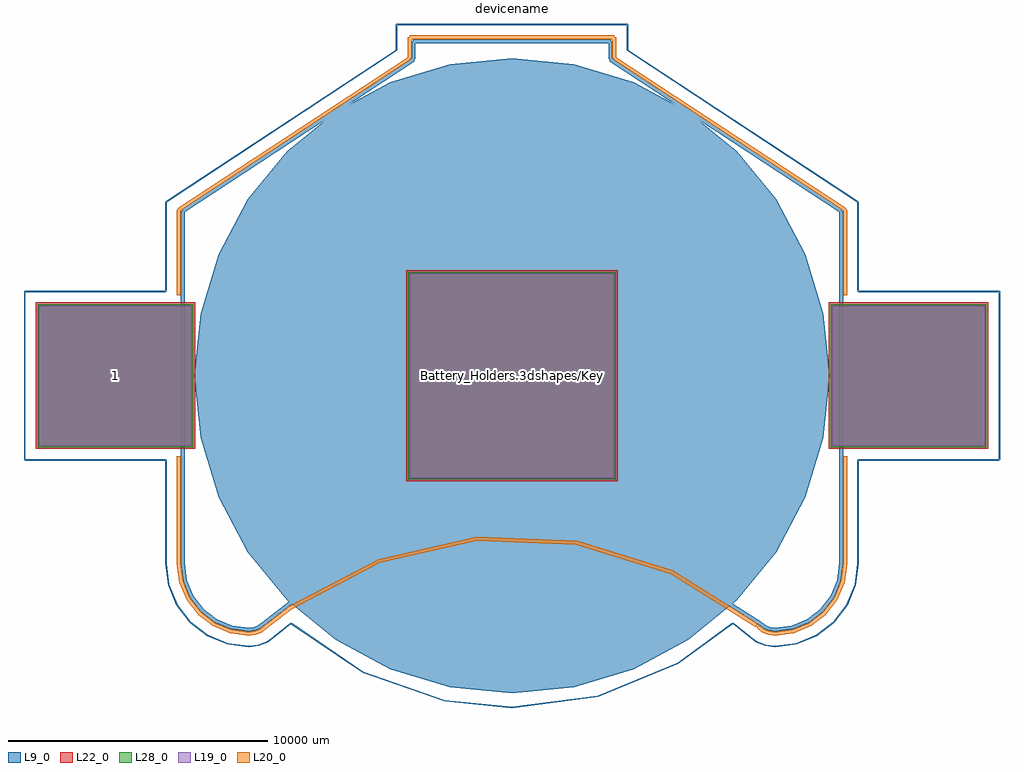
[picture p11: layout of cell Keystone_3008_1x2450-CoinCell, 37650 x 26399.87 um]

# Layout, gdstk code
import gdstk
lib = gdstk.Library(unit=1e-6, precision=1e-09)
def R(c, l, rs):  # rectangles x0, y0, x1, y1
    for r in rs: c.add(gdstk.rectangle(r[:2], r[2:], *l))
def P(c, l, *ps):  # polygons
    for p in ps: c.add(gdstk.Polygon(p, *l))
L9_0 = (9, 0)
L19_0 = (19, 0)
L20_0 = (20, 0)
L22_0 = (22, 0)
L28_0 = (28, 0)

keystone_3008_1x2450_coi = lib.new_cell('Keystone_3008_1x2450-CoinCell')
P(keystone_3008_1x2450_coi, L9_0, [(12250,0),(12014.62,2389.856),(11317.524,4687.872),(10185.503,6805.735),(8662.058,8662.058),(6805.735,10185.503),(4687.872,11317.524),(2389.856,12014.62),(0,12250),(-2389.856,12014.62),(-4687.872,11317.524),(-6805.735,10185.503),(-8662.058,8662.058),(-10185.503,6805.735),(-11317.524,4687.872),(-12014.62,2389.856),(-12250,0),(-12014.62,-2389.856),(-11317.524,-4687.872),(-10185.503,-6805.735),(-8662.058,-8662.058),(-6805.735,-10185.503),(-4687.872,-11317.524),(-2389.856,-12014.62),(0,-12250),(2389.856,-12014.62),(4687.872,-11317.524),(6805.735,-10185.503),(8662.058,-8662.058),(10185.503,-6805.735),(11317.524,-4687.872),(12014.62,-2389.856)])
R(keystone_3008_1x2450_coi, L19_0, [(-3950,-3950,3950,3950), (-18250,-2700,-12350,2700), (12350,-2700,18250,2700)])
R(keystone_3008_1x2450_coi, L22_0, [(-4075,-4075,4075,4075), (-18375,-2825,-12225,2825), (12225,-2825,18375,2825)])
R(keystone_3008_1x2450_coi, L28_0, [(-4000,-4000,4000,4000), (-18300,-2750,-12300,2750), (12300,-2750,18300,2750)])
keystone_3008_1x2450_coi.add(gdstk.FlexPath([(-3800,12900),(3800,12900)], 149.998, ends="flush", simple_path=True, layer=9, datatype=0))  # L9_0
keystone_3008_1x2450_coi.add(gdstk.FlexPath([(3800,12900),(3800,12200)], 149.998, ends="flush", simple_path=True, layer=9, datatype=0))  # L9_0
keystone_3008_1x2450_coi.add(gdstk.FlexPath([(-3800,12900),(-3800,12200)], 149.998, ends="flush", simple_path=True, layer=9, datatype=0))  # L9_0
keystone_3008_1x2450_coi.add(gdstk.FlexPath([(-12700,6350),(-12700,-7300)], 149.998, ends="flush", simple_path=True, layer=9, datatype=0))  # L9_0
keystone_3008_1x2450_coi.add(gdstk.FlexPath([(-3800,12200),(-12700,6350)], 149.998, ends="flush", simple_path=True, layer=9, datatype=0))  # L9_0
keystone_3008_1x2450_coi.add(gdstk.FlexPath([(12700,6350),(12700,-7300)], 149.998, ends="flush", simple_path=True, layer=9, datatype=0))  # L9_0
keystone_3008_1x2450_coi.add(gdstk.FlexPath([(3800,12200),(12700,6350)], 149.998, ends="flush", simple_path=True, layer=9, datatype=0))  # L9_0
keystone_3008_1x2450_coi.add(gdstk.FlexPath([(-12850,6400),(-12850,3100)], 149.998, ends="flush", simple_path=True, layer=20, datatype=0))  # L20_0
keystone_3008_1x2450_coi.add(gdstk.FlexPath([(-3950,12250),(-12850,6400)], 149.998, ends="flush", simple_path=True, layer=20, datatype=0))  # L20_0
keystone_3008_1x2450_coi.add(gdstk.FlexPath([(-3950,13050),(-3950,12250)], 149.998, ends="flush", simple_path=True, layer=20, datatype=0))  # L20_0
keystone_3008_1x2450_coi.add(gdstk.FlexPath([(-3950,13050),(3950,13050)], 149.998, ends="flush", simple_path=True, layer=20, datatype=0))  # L20_0
keystone_3008_1x2450_coi.add(gdstk.FlexPath([(3950,13050),(3950,12250)], 149.998, ends="flush", simple_path=True, layer=20, datatype=0))  # L20_0
keystone_3008_1x2450_coi.add(gdstk.FlexPath([(3950,12250),(12850,6400)], 149.998, ends="flush", simple_path=True, layer=20, datatype=0))  # L20_0
keystone_3008_1x2450_coi.add(gdstk.FlexPath([(12850,6400),(12850,3100)], 149.998, ends="flush", simple_path=True, layer=20, datatype=0))  # L20_0
keystone_3008_1x2450_coi.add(gdstk.FlexPath([(-13350,6700),(-13350,3250)], 50, ends="flush", simple_path=True, layer=9, datatype=0))  # L9_0
keystone_3008_1x2450_coi.add(gdstk.FlexPath([(-13350,3250),(-18800,3250)], 50, ends="flush", simple_path=True, layer=9, datatype=0))  # L9_0
keystone_3008_1x2450_coi.add(gdstk.FlexPath([(-13350,-3250),(-13350,-7300)], 50, ends="flush", simple_path=True, layer=9, datatype=0))  # L9_0
keystone_3008_1x2450_coi.add(gdstk.FlexPath([(-18800,-3250),(-13350,-3250)], 50, ends="flush", simple_path=True, layer=9, datatype=0))  # L9_0
keystone_3008_1x2450_coi.add(gdstk.FlexPath([(-18800,3250),(-18800,-3250)], 50, ends="flush", simple_path=True, layer=9, datatype=0))  # L9_0
keystone_3008_1x2450_coi.add(gdstk.FlexPath([(-4450,12550),(-13350,6700)], 50, ends="flush", simple_path=True, layer=9, datatype=0))  # L9_0
keystone_3008_1x2450_coi.add(gdstk.FlexPath([(13350,3250),(18800,3250)], 50, ends="flush", simple_path=True, layer=9, datatype=0))  # L9_0
keystone_3008_1x2450_coi.add(gdstk.FlexPath([(18800,3250),(18800,-3250)], 50, ends="flush", simple_path=True, layer=9, datatype=0))  # L9_0
keystone_3008_1x2450_coi.add(gdstk.FlexPath([(18800,-3250),(13350,-3250)], 50, ends="flush", simple_path=True, layer=9, datatype=0))  # L9_0
keystone_3008_1x2450_coi.add(gdstk.FlexPath([(13350,6700),(13350,3250)], 50, ends="flush", simple_path=True, layer=9, datatype=0))  # L9_0
keystone_3008_1x2450_coi.add(gdstk.FlexPath([(4450,12550),(13350,6700)], 50, ends="flush", simple_path=True, layer=9, datatype=0))  # L9_0
keystone_3008_1x2450_coi.add(gdstk.FlexPath([(-4450,13550),(-4450,12550)], 50, ends="flush", simple_path=True, layer=9, datatype=0))  # L9_0
keystone_3008_1x2450_coi.add(gdstk.FlexPath([(-4450,13550),(4450,13550)], 50, ends="flush", simple_path=True, layer=9, datatype=0))  # L9_0
keystone_3008_1x2450_coi.add(gdstk.FlexPath([(4450,13550),(4450,12550)], 50, ends="flush", simple_path=True, layer=9, datatype=0))  # L9_0
keystone_3008_1x2450_coi.add(gdstk.FlexPath([(-12700,-7250),(-12613.111,-7909.989),(-12358.365,-8525),(-11953.122,-9053.122),(-11425,-9458.365),(-10809.989,-9713.111),(-10150,-9800)], 149.998, ends="flush", simple_path=True, layer=9, datatype=0))  # L9_0
keystone_3008_1x2450_coi.add(gdstk.FlexPath([(10150,-9800),(10809.989,-9713.111),(11425,-9458.365),(11953.122,-9053.122),(12358.365,-8525),(12613.111,-7909.989),(12700,-7250)], 149.998, ends="flush", simple_path=True, layer=9, datatype=0))  # L9_0
keystone_3008_1x2450_coi.add(gdstk.FlexPath([(13350,-3250),(13350,-7300)], 50, ends="flush", simple_path=True, layer=9, datatype=0))  # L9_0
keystone_3008_1x2450_coi.add(gdstk.FlexPath([(-12850,-3100),(-12850,-7300)], 149.998, ends="flush", simple_path=True, layer=20, datatype=0))  # L20_0
keystone_3008_1x2450_coi.add(gdstk.FlexPath([(12850,-3100),(12850,-7300)], 149.998, ends="flush", simple_path=True, layer=20, datatype=0))  # L20_0
keystone_3008_1x2450_coi.add(gdstk.FlexPath([(10150,-9950),(10848.811,-9858),(11500,-9588.269),(12059.188,-9159.188),(12488.269,-8600),(12758,-7948.811),(12850,-7250)], 149.998, ends="flush", simple_path=True, layer=20, datatype=0))  # L20_0
keystone_3008_1x2450_coi.add(gdstk.FlexPath([(-12850,-7250),(-12758,-7948.811),(-12488.269,-8600),(-12059.188,-9159.188),(-11500,-9588.269),(-10848.811,-9858),(-10150,-9950)], 149.998, ends="flush", simple_path=True, layer=20, datatype=0))  # L20_0
keystone_3008_1x2450_coi.add(gdstk.FlexPath([(9579.482,-9562.784),(6292.9,-7473.145),(2577.467,-6305.339),(-1313.616,-6138.95),(-5115.179,-6985.317),(-8568.15,-8786.761),(-9600,-9580)], 149.998, ends="flush", simple_path=True, layer=9, datatype=0))  # L9_0
keystone_3008_1x2450_coi.add(gdstk.FlexPath([(-10150,-9800),(-9942.945,-9772.74),(-9750,-9692.82),(-9584.315,-9565.685)], 149.998, ends="flush", simple_path=True, layer=9, datatype=0))  # L9_0
keystone_3008_1x2450_coi.add(gdstk.FlexPath([(9584.315,-9565.685),(9750,-9692.82),(9942.945,-9772.74),(10150,-9800)], 149.998, ends="flush", simple_path=True, layer=9, datatype=0))  # L9_0
keystone_3008_1x2450_coi.add(gdstk.FlexPath([(-10150,-9950),(-9904.122,-9917.629),(-9675,-9822.724),(-9478.249,-9671.751)], 149.998, ends="flush", simple_path=True, layer=20, datatype=0))  # L20_0
keystone_3008_1x2450_coi.add(gdstk.FlexPath([(9478.249,-9671.751),(9675,-9822.724),(9904.122,-9917.629),(10150,-9950)], 149.998, ends="flush", simple_path=True, layer=20, datatype=0))  # L20_0
keystone_3008_1x2450_coi.add(gdstk.FlexPath([(9440.443,-9638.071),(6178.084,-7581.853),(2494.699,-6440.059),(-1358.696,-6290.502),(-5119.498,-7143.372),(-8531.414,-8940.549),(-9550,-9730)], 149.998, ends="flush", simple_path=True, layer=20, datatype=0))  # L20_0
keystone_3008_1x2450_coi.add(gdstk.FlexPath([(-13350,-7250),(-13240.963,-8078.221),(-12921.281,-8850),(-12412.742,-9512.742),(-11750,-10021.281),(-10978.221,-10340.963),(-10150,-10450)], 50, ends="flush", simple_path=True, layer=9, datatype=0))  # L9_0
keystone_3008_1x2450_coi.add(gdstk.FlexPath([(10150,-10450),(10978.221,-10340.963),(11750,-10021.281),(12412.742,-9512.742),(12921.281,-8850),(13240.963,-8078.221),(13350,-7250)], 50, ends="flush", simple_path=True, layer=9, datatype=0))  # L9_0
keystone_3008_1x2450_coi.add(gdstk.FlexPath([(-10150,-10450),(-9774.712,-10400.592),(-9425,-10255.736),(-9124.696,-10025.304)], 50, ends="flush", simple_path=True, layer=9, datatype=0))  # L9_0
keystone_3008_1x2450_coi.add(gdstk.FlexPath([(9124.696,-10025.304),(9425,-10255.736),(9774.712,-10400.592),(10150,-10450)], 50, ends="flush", simple_path=True, layer=9, datatype=0))  # L9_0
keystone_3008_1x2450_coi.add(gdstk.FlexPath([(-8524.487,-9556.307),(-9150,-10050)], 50, ends="flush", simple_path=True, layer=9, datatype=0))  # L9_0
keystone_3008_1x2450_coi.add(gdstk.FlexPath([(-8514.948,-9556.968),(-5751.283,-11435.153),(-2595.677,-12534.052),(0,-12800)], 50, ends="flush", simple_path=True, layer=9, datatype=0))  # L9_0
keystone_3008_1x2450_coi.add(gdstk.FlexPath([(9150,-10050),(8524.487,-9556.307)], 50, ends="flush", simple_path=True, layer=9, datatype=0))  # L9_0
keystone_3008_1x2450_coi.add(gdstk.FlexPath([(0,-12800),(3312.884,-12363.85),(6400,-11085.125),(8514.948,-9556.968)], 50, ends="flush", simple_path=True, layer=9, datatype=0))  # L9_0
keystone_3008_1x2450_coi.add(gdstk.Label('Battery_Holders.3dshapes/Keystone_3008_1x2450-CoinCell.wrl', (0,0), layer=12, texttype=0))
keystone_3008_1x2450_coi.add(gdstk.Label('2', (0,0), layer=28, texttype=0))
keystone_3008_1x2450_coi.add(gdstk.Label('1', (-15300,0), layer=28, texttype=0))
keystone_3008_1x2450_coi.add(gdstk.Label('type', (0,-14000), layer=9, texttype=0))
keystone_3008_1x2450_coi.add(gdstk.Label('devicename', (0,14400), layer=9, texttype=0))

lib.write_gds('Keystone_3008_1x2450-CoinCell.gds')
